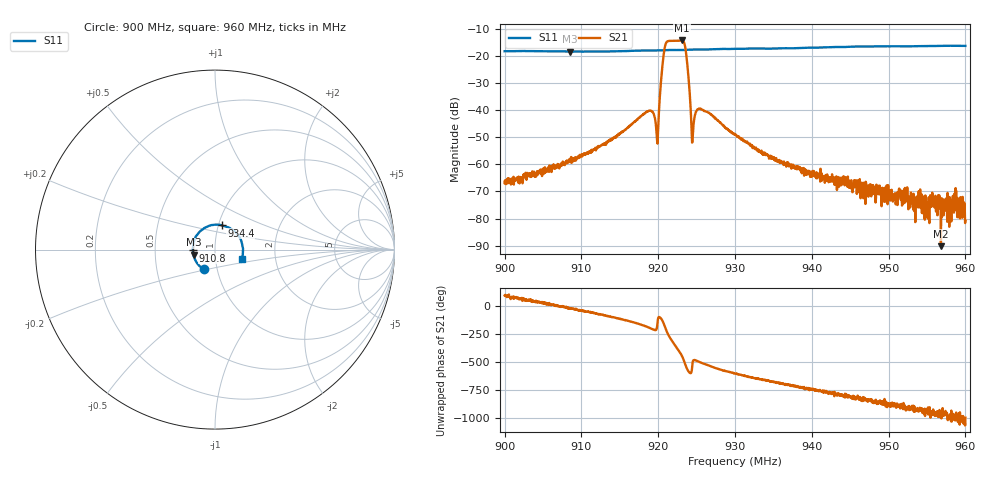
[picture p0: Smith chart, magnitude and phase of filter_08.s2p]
!Agilent Technologies,E5071C,MY46214392,A.11.36
!Date: Thu Feb 26 21:26:40 2026
!Data & Calibration Information:
!Freq	S11:NONE(--)	S21:NONE(--)	S12:NONE(--)	S22:NONE(--)
!PortZ  Port1:50+j0  Port2:50+j0
!Above PortZ is port z conversion or system Z0 setting when saving the data.
!When reading, reference impedance value at option line is always used.
# Hz S dB R 50
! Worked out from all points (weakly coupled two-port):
!   1601 points, 900 MHz to 960 MHz, reference 50 ohm
!   highest |S21| = -14.08 dB at 923.1 MHz (marker M1); lowest = -90.2 dB at 956.8 MHz (marker M2)
!   lowest |S11| = -18.2 dB at 908.5 MHz (marker M3), VSWR 1.28, Z = 39.3 - j2.29 ohm
!   |S11| at or under -10 dB: start of sweep to end of sweep
!   S12 and S22 are empty: the file has one direction only
!   S11 on the Smith chart (normalised r, x): 900 MHz: 0.86, -0.19; 910.8 MHz: 0.78, -0.01; 934.4 MHz: 1.04, +0.28; 960 MHz: 1.34, -0.14
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9e8  -18.07 -120.1  -66.89 93.6  -200.00 0.0  -200.00 0.0
9.0855e8  -18.21 -166.5  -59.04 -20.5  -200.00 0.0  -200.00 0.0
9.100125e8  -18.19 -173.9  -56.67 -40.7  -200.00 0.0  -200.00 0.0
9.108e8  -18.14 -177.9  -55.64 -50.0  -200.00 0.0  -200.00 0.0
9.185625e8  -17.77 143.2  -40.37 173.6  -200.00 0.0  -200.00 0.0
9.19725e8  -17.78 138.1  -46.11 145.9  -200.00 0.0  -200.00 0.0
9.20025e8  -17.76 136.7  -44.70 -104.2  -200.00 0.0  -200.00 0.0
9.2055e8  -17.72 134.4  -23.42 -131.6  -200.00 0.0  -200.00 0.0
9.21e8  -17.65 132.4  -15.17 150.8  -200.00 0.0  -200.00 0.0
9.222e8  -17.62 126.3  -14.18 8.5  -200.00 0.0  -200.00 0.0
9.231e8  -17.62 122.4  -14.08 -88.1  -200.00 0.0  -200.00 0.0
9.236625e8  -17.57 120.2  -19.55 172.2  -200.00 0.0  -200.00 0.0
9.242625e8  -17.47 117.4  -41.51 120.2  -200.00 0.0  -200.00 0.0
9.24525e8  -17.45 116.1  -48.17 -132.7  -200.00 0.0  -200.00 0.0
9.255375e8  -17.42 111.4  -39.37 -146.3  -200.00 0.0  -200.00 0.0
9.3e8  -17.18 92.5  -48.84 116.2  -200.00 0.0  -200.00 0.0
9.34425e8  -17.12 74.8  -57.82 52.0  -200.00 0.0  -200.00 0.0
9.400125e8  -16.74 54.6  -62.59 -23.2  -200.00 0.0  -200.00 0.0
9.50025e8  -16.23 17.8  -71.59 -157.3  -200.00 0.0  -200.00 0.0
9.568125e8  -16.09 -6.7  -90.25 131.2  -200.00 0.0  -200.00 0.0
9.58575e8  -16.05 -13.8  -70.83 70.9  -200.00 0.0  -200.00 0.0
9.6e8  -16.09 -19.3  -80.83 81.0  -200.00 0.0  -200.00 0.0
